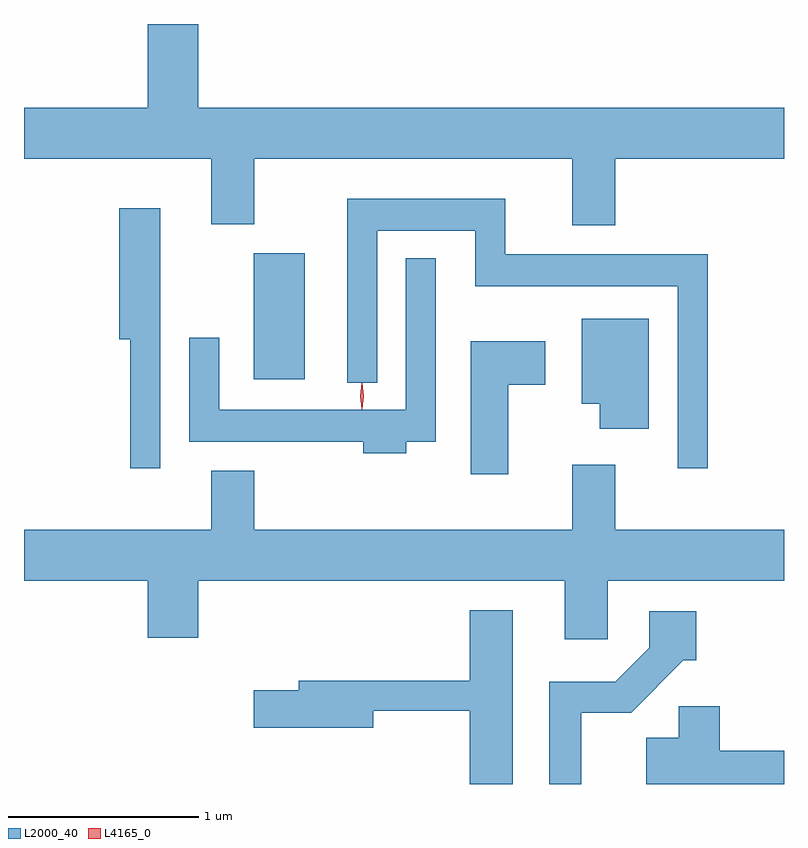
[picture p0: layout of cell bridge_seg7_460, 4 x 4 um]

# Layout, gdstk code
import gdstk
lib = gdstk.Library(unit=1e-6, precision=1e-09)
def R(c, l, rs):  # rectangles x0, y0, x1, y1
    for r in rs: c.add(gdstk.rectangle(r[:2], r[2:], *l))
def P(c, l, *ps):  # polygons
    for p in ps: c.add(gdstk.Polygon(p, *l))
L2000_40 = (2000, 40)
L4165_0 = (4165, 0)

bridge_seg7_460 = lib.new_cell('bridge_seg7_460')
R(bridge_seg7_460, L2000_40, [(1154.696,1695.396,1154.964,1696.059)])
P(bridge_seg7_460, L2000_40, [(1156.599,1696.556),(1157.486,1696.556),(1157.486,1696.824),(1154.404,1696.824),(1154.404,1697.265),(1154.136,1697.265),(1154.136,1696.824),(1153.486,1696.824),(1153.486,1696.556),(1154.471,1696.556),(1154.471,1696.211),(1154.699,1696.211),(1154.699,1696.556),(1156.371,1696.556),(1156.371,1696.206),(1156.599,1696.206)],
  [(1157.084,1696.054),(1156.019,1696.054),(1156.019,1696.344),(1155.186,1696.344),(1155.186,1695.378),(1155.344,1695.378),(1155.344,1696.176),(1155.861,1696.176),(1155.861,1695.886),(1156.926,1695.886),(1156.926,1694.928),(1157.084,1694.928)],
  [(1154.204,1696.294),(1153.986,1696.294),(1153.986,1695.606),(1154.046,1695.606),(1154.046,1694.928),(1154.204,1694.928)],
  [(1155.499,1695.066),(1155.654,1695.066),(1155.654,1696.033),(1155.496,1696.033),(1155.496,1695.234),(1154.514,1695.234),(1154.514,1695.613),(1154.356,1695.613),(1154.356,1695.066),(1155.271,1695.066),(1155.271,1695.006),(1155.499,1695.006)],
  [(1156.774,1695.714),(1156.421,1695.714),(1156.421,1695.266),(1156.516,1695.266),(1156.516,1695.136),(1156.774,1695.136)],
  [(1156.034,1695.366),(1156.229,1695.366),(1156.229,1695.594),(1155.836,1695.594),(1155.836,1694.896),(1156.034,1694.896)],
  [(1156.559,1694.336),(1157.486,1694.336),(1157.486,1694.604),(1156.599,1694.604),(1156.599,1694.944),(1156.371,1694.944),(1156.371,1694.604),(1154.699,1694.604),(1154.699,1694.914),(1154.471,1694.914),(1154.471,1694.604),(1153.486,1694.604),(1153.486,1694.336),(1154.136,1694.336),(1154.136,1694.036),(1154.404,1694.036),(1154.404,1694.336),(1156.331,1694.336),(1156.331,1694.026),(1156.559,1694.026)],
  [(1156.059,1694.179),(1155.831,1694.179),(1155.831,1693.809),(1154.931,1693.809),(1154.931,1693.759),(1154.696,1693.759),(1154.696,1693.561),(1155.324,1693.561),(1155.324,1693.651),(1155.831,1693.651),(1155.831,1693.265),(1156.059,1693.265)],
  [(1156.419,1693.641),(1156.682,1693.641),(1156.957,1693.916),(1157.024,1693.916),(1157.024,1694.174),(1156.776,1694.174),(1156.776,1693.982),(1156.599,1693.804),(1156.251,1693.804),(1156.251,1693.265),(1156.419,1693.265)],
  [(1157.486,1693.439),(1157.149,1693.439),(1157.149,1693.674),(1156.931,1693.674),(1156.931,1693.509),(1156.761,1693.509),(1156.761,1693.265),(1157.486,1693.265)])
P(bridge_seg7_460, L4165_0, [(1155.264,1695.237),(1155.255,1695.307),(1155.264,1695.376),(1155.265,1695.376),(1155.265,1695.376),(1155.275,1695.307),(1155.265,1695.237),(1155.265,1695.237)])

lib.write_gds('bridge_seg7_460.gds')
